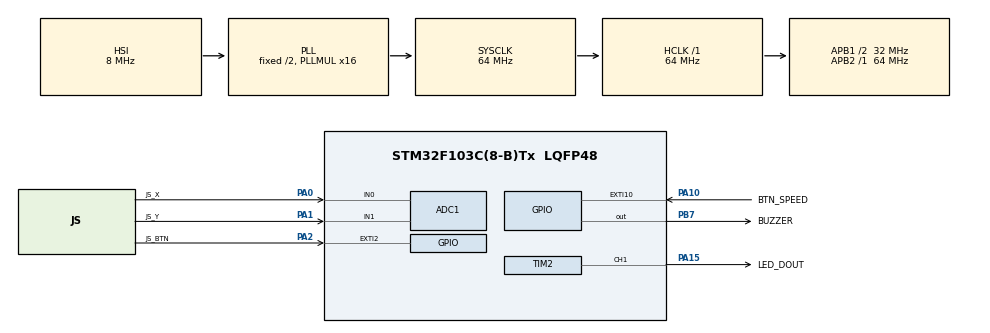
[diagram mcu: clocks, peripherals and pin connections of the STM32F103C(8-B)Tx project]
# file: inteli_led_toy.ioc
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ADC1.Channel-5\#ChannelRegularConversion=ADC_CHANNEL_0
ADC1.Channel-6\#ChannelRegularConversion=ADC_CHANNEL_1
ADC1.ContinuousConvMode=ENABLE
ADC1.DiscontinuousConvMode=DISABLE
ADC1.EnableAnalogWatchDog=false
ADC1.EnableInjectedConversion=DISABLE
ADC1.EnableRegularConversion=ENABLE
ADC1.ExternalTrigInjecConv=ADC_INJECTED_SOFTWARE_START
ADC1.InjNumberOfConversion=2
ADC1.NbrOfConversion=2
ADC1.NbrOfConversionFlag=1
ADC1.Rank-5\#ChannelRegularConversion=1
ADC1.Rank-6\#ChannelRegularConversion=2
ADC1.SamplingTime-5\#ChannelRegularConversion=ADC_SAMPLETIME_239CYCLES_5
ADC1.SamplingTime-6\#ChannelRegularConversion=ADC_SAMPLETIME_239CYCLES_5
ADC1.master=1
Dma.ADC1.1.Direction=DMA_PERIPH_TO_MEMORY
Dma.ADC1.1.Instance=DMA1_Channel1
Dma.ADC1.1.MemDataAlignment=DMA_MDATAALIGN_WORD
Dma.ADC1.1.MemInc=DMA_MINC_ENABLE
Dma.ADC1.1.Mode=DMA_CIRCULAR
Dma.ADC1.1.PeriphDataAlignment=DMA_PDATAALIGN_WORD
Dma.ADC1.1.PeriphInc=DMA_PINC_DISABLE
Dma.ADC1.1.Priority=DMA_PRIORITY_LOW
Dma.Request0=TIM2_CH1
Dma.Request1=ADC1
Dma.TIM2_CH1.0.Direction=DMA_MEMORY_TO_PERIPH
Dma.TIM2_CH1.0.Instance=DMA1_Channel5
Dma.TIM2_CH1.0.MemDataAlignment=DMA_MDATAALIGN_BYTE
Dma.TIM2_CH1.0.MemInc=DMA_MINC_ENABLE
Dma.TIM2_CH1.0.Mode=DMA_CIRCULAR
Dma.TIM2_CH1.0.PeriphDataAlignment=DMA_PDATAALIGN_HALFWORD
Dma.TIM2_CH1.0.PeriphInc=DMA_PINC_DISABLE
Dma.TIM2_CH1.0.Priority=DMA_PRIORITY_LOW
Mcu.Family=STM32F1
Mcu.Name=STM32F103C(8-B)Tx
Mcu.Package=LQFP48
NVIC.ADC1_2_IRQn=true\:0\:0\:false\:false\:true\:true\:true
NVIC.DMA1_Channel1_IRQn=true\:0\:0\:false\:false\:true\:false\:true
NVIC.DMA1_Channel5_IRQn=true\:0\:0\:false\:false\:true\:false\:true
NVIC.EXTI15_10_IRQn=true\:0\:0\:false\:false\:true\:true\:true
NVIC.EXTI2_IRQn=true\:0\:0\:false\:false\:true\:true\:true
NVIC.PriorityGroup=NVIC_PRIORITYGROUP_4
NVIC.TIM2_IRQn=true\:0\:0\:false\:false\:true\:true\:true
NVIC.TIM3_IRQn=true\:0\:0\:false\:false\:true\:true\:true
NVIC.TIM4_IRQn=true\:0\:0\:false\:false\:true\:true\:true
PA0-WKUP.GPIO_Label=JS_X
PA0-WKUP.Signal=ADCx_IN0
PA1.GPIO_Label=JS_Y
PA1.Signal=ADCx_IN1
PA10.GPIO_Label=BTN_SPEED
PA10.GPIO_ModeDefaultEXTI=GPIO_MODE_IT_FALLING
PA10.GPIO_PuPd=GPIO_PULLUP
PA10.Signal=GPXTI10
PA13.Mode=Serial_Wire
PA13.Signal=SYS_JTMS-SWDIO
PA14.Mode=Serial_Wire
PA14.Signal=SYS_JTCK-SWCLK
PA15.GPIO_Label=LED_DOUT
PA15.Signal=S_TIM2_CH1_ETR
PA2.GPIO_Label=JS_BTN
PA2.GPIO_ModeDefaultEXTI=GPIO_MODE_IT_FALLING
PA2.GPIO_PuPd=GPIO_PULLUP
PA2.Signal=GPXTI2
PB7.GPIO_Label=BUZZER
PB7.PinState=GPIO_PIN_RESET
PB7.Signal=GPIO_Output
ProjectManager.HeapSize=0x200
ProjectManager.StackSize=0x400
ProjectManager.TargetToolchain=STM32CubeIDE
RCC.ADCPresc=RCC_ADCPCLK2_DIV6
RCC.AHBFreq_Value=64000000
RCC.APB1CLKDivider=RCC_HCLK_DIV2
RCC.APB1Freq_Value=32000000
RCC.APB1TimFreq_Value=64000000
RCC.APB2Freq_Value=64000000
RCC.APB2TimFreq_Value=64000000
RCC.HCLKFreq_Value=64000000
RCC.PLLMUL=RCC_PLL_MUL16
RCC.SYSCLKFreq_VALUE=64000000
RCC.SYSCLKSource=RCC_SYSCLKSOURCE_PLLCLK
RCC.USBFreq_Value=64000000
RTC.Format=RTC_FORMAT_BCD
SH.ADCx_IN0.0=ADC1_IN0,IN0
SH.ADCx_IN1.0=ADC1_IN1,IN1
SH.S_TIM2_CH1_ETR.0=TIM2_CH1,PWM Generation1 CH1
TIM2.Channel-PWM\ Generation1\ CH1=TIM_CHANNEL_1
TIM2.Period=90-1
TIM2.Prescaler=0
TIM2.Pulse-PWM\ Generation1\ CH1=0
TIM3.Period=7200
TIM3.Prescaler=10000
TIM4.Period=100-1
TIM4.Prescaler=7200
VP_RTC_VS_RTC_Activate.Mode=RTC_Enabled
VP_RTC_VS_RTC_Calendar.Mode=RTC_Calendar
VP_TIM2_VS_ClockSourceINT.Mode=Internal
VP_TIM3_VS_ClockSourceINT.Mode=Internal
VP_TIM4_VS_ClockSourceINT.Mode=Internal
board=custom

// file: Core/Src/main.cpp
/* USER CODE BEGIN Header */
/**
  ******************************************************************************
  * @file           : main.c
  * @brief          : Main program body
  ******************************************************************************
  * @attention
  *
  * <h2><center>&copy; Copyright (c) 2021 STMicroelectronics.
  * All rights reserved.</center></h2>
  *
  * This software component is licensed by ST under BSD 3-Clause license,
  * the "License"; You may not use this file except in compliance with the
  * License. You may obtain a copy of the License at:
  *                        opensource.org/licenses/BSD-3-Clause
  *
  ******************************************************************************
  */
/* USER CODE END Header */
#include "main.h"

/* USER CODE BEGIN Includes */
#include "Led_plane.h"
#include "Game_food.h"
#include "Game_snake.h"
#include "Joystick.h"
extern "C"
{
	#include "buzzer.h"
}
/* USER CODE END Includes */

ADC_HandleTypeDef hadc1;
DMA_HandleTypeDef hdma_adc1;

RTC_HandleTypeDef hrtc;

TIM_HandleTypeDef htim2;
TIM_HandleTypeDef htim3;
TIM_HandleTypeDef htim4;
DMA_HandleTypeDef hdma_tim2_ch1;

/* USER CODE BEGIN PV */
void game_over();
uint32_t RGB(uint8_t r, uint8_t g, uint8_t b);
/* USER CODE END PV */

void SystemClock_Config(void);
static void MX_GPIO_Init(void);
static void MX_DMA_Init(void);
static void MX_TIM2_Init(void);
static void MX_RTC_Init(void);
static void MX_ADC1_Init(void);
static void MX_TIM3_Init(void);
static void MX_TIM4_Init(void);

/* USER CODE BEGIN 0 */
Led_plane ws2812(&htim2, TIM_CHANNEL_1);
Joystick joystick(&htim4);

Game_snake *snake;
Game_food *food;

uint8_t snake_speed = Game_snake::SPEED_RATE::THREE;

void HAL_TIM_PeriodElapsedCallback(TIM_HandleTypeDef *htim)
{
    if (htim->Instance == snake->fps_timer->Instance)
    {
    	switch (snake->get_obj_ahead(food))
    	{
			case FOOD:
				snake->make_step();
				snake->devour(food);
				food = new Game_food(&ws2812);
				break;
			case OBSTACLE:
				game_over();
				break;
			case NONE:
				snake->make_step();
				break;
		}
    }
    if (htim->Instance == joystick.polling_timer->Instance)
    {
    	if (joystick.rot_val[0] < joystick.rot_lim.x_low)
    		snake->turn(Game_snake::UP);
    	if (joystick.rot_val[0] > joystick.rot_lim.x_high)
    		snake->turn(Game_snake::DOWN);
    	if (joystick.rot_val[1] < joystick.rot_lim.y_low)
    		snake->turn(Game_snake::RIGHT);
    	if (joystick.rot_val[1] > joystick.rot_lim.y_high)
    		snake->turn(Game_snake::LEFT);
    }
}

void HAL_GPIO_EXTI_Callback(uint16_t GPIO_Pin)
{
	/*make snake move upon joystick button press*/
	if (GPIO_Pin == JS_BTN_Pin && !snake->is_moving)
	{
		if (snake->is_crush)
		{
			/*Clear field*/
			ws2812.fill_rect(0, 0, ws2812.Cols - 1, ws2812.Rows - 1, 0);
			snake = new Game_snake(&htim3, &ws2812, 3, RGB(8, 0, 0), RGB(0, 8, 0));
			snake->is_crush = false;
			snake->sr = static_cast<Game_snake::SPEED_RATE>(snake_speed);
		}
		food = new Game_food(&ws2812);
		snake->start_move();
	}
	if (GPIO_Pin == BTN_SPEED_Pin)
	{
//		snake_speed = snake->sr;
		if (snake->sr != Game_snake::SPEED_RATE::SIX)
		{
			snake->sr = static_cast<Game_snake::SPEED_RATE>(++snake_speed);
			snake_speed = snake->sr;
		}
		else
		{
			snake->sr = Game_snake::SPEED_RATE::ONE;
			snake_speed = snake->sr;
		}
		snake->set_speed(snake->sr);
	}
}

void game_over()
{
	snake->is_crush = true;
	snake->stop_move();
	snake->change_color(RGB(8, 0, 0));
	delete food;
	delete snake;
}

uint32_t RGB(uint8_t r, uint8_t g, uint8_t b)
{
	return r << 16 | g << 8 | b;
}
/* USER CODE END 0 */

int main(void)
{

  /* MCU Configuration--------------------------------------------------------*/

  /* Reset of all peripherals, Initializes the Flash interface and the Systick. */
  HAL_Init();

  /* Configure the system clock */
  SystemClock_Config();

  /* Initialize all configured peripherals */
  MX_GPIO_Init();
  MX_DMA_Init();
  MX_TIM2_Init();
  MX_RTC_Init();
  MX_ADC1_Init();
  MX_TIM3_Init();
  MX_TIM4_Init();
  /* USER CODE BEGIN 2 */
  buzzer_on();
  HAL_Delay(100);
  buzzer_off();
  HAL_ADCEx_Calibration_Start(&hadc1);
  HAL_ADC_Start_DMA(&hadc1, joystick.rot_val, 2);

  joystick.on();

  ws2812.light_on();

  snake = new Game_snake(&htim3, &ws2812, 3, RGB(8, 0, 0), RGB(0, 8, 0));
  snake->sr = static_cast<Game_snake::SPEED_RATE>(snake_speed);

  /* USER CODE END 2 */

  /* Infinite loop */
  while (1)
  {

  }
}

void SystemClock_Config(void)
{
  RCC_OscInitTypeDef RCC_OscInitStruct = {0};
  RCC_ClkInitTypeDef RCC_ClkInitStruct = {0};
  RCC_PeriphCLKInitTypeDef PeriphClkInit = {0};

  /** Initializes the RCC Oscillators according to the specified parameters
  * in the RCC_OscInitTypeDef structure.
  */
  RCC_OscInitStruct.OscillatorType = RCC_OSCILLATORTYPE_HSI|RCC_OSCILLATORTYPE_LSI;
  RCC_OscInitStruct.HSIState = RCC_HSI_ON;
  RCC_OscInitStruct.HSICalibrationValue = RCC_HSICALIBRATION_DEFAULT;
  RCC_OscInitStruct.LSIState = RCC_LSI_ON;
  RCC_OscInitStruct.PLL.PLLState = RCC_PLL_ON;
  RCC_OscInitStruct.PLL.PLLSource = RCC_PLLSOURCE_HSI_DIV2;
  RCC_OscInitStruct.PLL.PLLMUL = RCC_PLL_MUL16;
  if (HAL_RCC_OscConfig(&RCC_OscInitStruct) != HAL_OK)
  {
    Error_Handler();
  }
  /** Initializes the CPU, AHB and APB buses clocks
  */
  RCC_ClkInitStruct.ClockType = RCC_CLOCKTYPE_HCLK|RCC_CLOCKTYPE_SYSCLK
                              |RCC_CLOCKTYPE_PCLK1|RCC_CLOCKTYPE_PCLK2;
  RCC_ClkInitStruct.SYSCLKSource = RCC_SYSCLKSOURCE_PLLCLK;
  RCC_ClkInitStruct.AHBCLKDivider = RCC_SYSCLK_DIV1;
  RCC_ClkInitStruct.APB1CLKDivider = RCC_HCLK_DIV2;
  RCC_ClkInitStruct.APB2CLKDivider = RCC_HCLK_DIV1;

  if (HAL_RCC_ClockConfig(&RCC_ClkInitStruct, FLASH_LATENCY_2) != HAL_OK)
  {
    Error_Handler();
  }
  PeriphClkInit.PeriphClockSelection = RCC_PERIPHCLK_RTC|RCC_PERIPHCLK_ADC;
  PeriphClkInit.RTCClockSelection = RCC_RTCCLKSOURCE_LSI;
  PeriphClkInit.AdcClockSelection = RCC_ADCPCLK2_DIV6;
  if (HAL_RCCEx_PeriphCLKConfig(&PeriphClkInit) != HAL_OK)
  {
    Error_Handler();
  }
}

static void MX_ADC1_Init(void)
{

  ADC_ChannelConfTypeDef sConfig = {0};

  /** Common config
  */
  hadc1.Instance = ADC1;
  hadc1.Init.ScanConvMode = ADC_SCAN_ENABLE;
  hadc1.Init.ContinuousConvMode = ENABLE;
  hadc1.Init.DiscontinuousConvMode = DISABLE;
  hadc1.Init.ExternalTrigConv = ADC_SOFTWARE_START;
  hadc1.Init.DataAlign = ADC_DATAALIGN_RIGHT;
  hadc1.Init.NbrOfConversion = 2;
  if (HAL_ADC_Init(&hadc1) != HAL_OK)
  {
    Error_Handler();
  }
  /** Configure Regular Channel
  */
  sConfig.Channel = ADC_CHANNEL_0;
  sConfig.Rank = ADC_REGULAR_RANK_1;
  sConfig.SamplingTime = ADC_SAMPLETIME_239CYCLES_5;
  if (HAL_ADC_ConfigChannel(&hadc1, &sConfig) != HAL_OK)
  {
    Error_Handler();
  }
  /** Configure Regular Channel
  */
  sConfig.Channel = ADC_CHANNEL_1;
  sConfig.Rank = ADC_REGULAR_RANK_2;
  if (HAL_ADC_ConfigChannel(&hadc1, &sConfig) != HAL_OK)
  {
    Error_Handler();
  }

}

static void MX_RTC_Init(void)
{

  RTC_TimeTypeDef sTime = {0};
  RTC_DateTypeDef DateToUpdate = {0};

  /** Initialize RTC Only
  */
  hrtc.Instance = RTC;
  hrtc.Init.AsynchPrediv = RTC_AUTO_1_SECOND;
  hrtc.Init.OutPut = RTC_OUTPUTSOURCE_ALARM;
  if (HAL_RTC_Init(&hrtc) != HAL_OK)
  {
    Error_Handler();
  }

  /** Initialize RTC and set the Time and Date
  */
  sTime.Hours = 0x0;
  sTime.Minutes = 0x0;
  sTime.Seconds = 0x0;

  if (HAL_RTC_SetTime(&hrtc, &sTime, RTC_FORMAT_BCD) != HAL_OK)
  {
    Error_Handler();
  }
  DateToUpdate.WeekDay = RTC_WEEKDAY_MONDAY;
  DateToUpdate.Month = RTC_MONTH_JANUARY;
  DateToUpdate.Date = 0x1;
  DateToUpdate.Year = 0x0;

  if (HAL_RTC_SetDate(&hrtc, &DateToUpdate, RTC_FORMAT_BCD) != HAL_OK)
  {
    Error_Handler();
  }

}

static void MX_TIM2_Init(void)
{

  TIM_ClockConfigTypeDef sClockSourceConfig = {0};
  TIM_MasterConfigTypeDef sMasterConfig = {0};
  TIM_OC_InitTypeDef sConfigOC = {0};

  htim2.Instance = TIM2;
  htim2.Init.Prescaler = 0;
  htim2.Init.CounterMode = TIM_COUNTERMODE_UP;
  htim2.Init.Period = 90-1;
  htim2.Init.ClockDivision = TIM_CLOCKDIVISION_DIV1;
  htim2.Init.AutoReloadPreload = TIM_AUTORELOAD_PRELOAD_DISABLE;
  if (HAL_TIM_Base_Init(&htim2) != HAL_OK)
  {
    Error_Handler();
  }
  sClockSourceConfig.ClockSource = TIM_CLOCKSOURCE_INTERNAL;
  if (HAL_TIM_ConfigClockSource(&htim2, &sClockSourceConfig) != HAL_OK)
  {
    Error_Handler();
  }
  if (HAL_TIM_PWM_Init(&htim2) != HAL_OK)
  {
    Error_Handler();
  }
  sMasterConfig.MasterOutputTrigger = TIM_TRGO_RESET;
  sMasterConfig.MasterSlaveMode = TIM_MASTERSLAVEMODE_DISABLE;
  if (HAL_TIMEx_MasterConfigSynchronization(&htim2, &sMasterConfig) != HAL_OK)
  {
    Error_Handler();
  }
  sConfigOC.OCMode = TIM_OCMODE_PWM1;
  sConfigOC.Pulse = 0;
  sConfigOC.OCPolarity = TIM_OCPOLARITY_HIGH;
  sConfigOC.OCFastMode = TIM_OCFAST_DISABLE;
  if (HAL_TIM_PWM_ConfigChannel(&htim2, &sConfigOC, TIM_CHANNEL_1) != HAL_OK)
  {
    Error_Handler();
  }
  HAL_TIM_MspPostInit(&htim2);

}

static void MX_TIM3_Init(void)
{

  TIM_ClockConfigTypeDef sClockSourceConfig = {0};
  TIM_MasterConfigTypeDef sMasterConfig = {0};

  htim3.Instance = TIM3;
  htim3.Init.Prescaler = 10000;
  htim3.Init.CounterMode = TIM_COUNTERMODE_UP;
  htim3.Init.Period = 7200;
  htim3.Init.ClockDivision = TIM_CLOCKDIVISION_DIV1;
  htim3.Init.AutoReloadPreload = TIM_AUTORELOAD_PRELOAD_DISABLE;
  if (HAL_TIM_Base_Init(&htim3) != HAL_OK)
  {
    Error_Handler();
  }
  sClockSourceConfig.ClockSource = TIM_CLOCKSOURCE_INTERNAL;
  if (HAL_TIM_ConfigClockSource(&htim3, &sClockSourceConfig) != HAL_OK)
  {
    Error_Handler();
  }
  sMasterConfig.MasterOutputTrigger = TIM_TRGO_RESET;
  sMasterConfig.MasterSlaveMode = TIM_MASTERSLAVEMODE_DISABLE;
  if (HAL_TIMEx_MasterConfigSynchronization(&htim3, &sMasterConfig) != HAL_OK)
  {
    Error_Handler();
  }

}

static void MX_TIM4_Init(void)
{

  TIM_ClockConfigTypeDef sClockSourceConfig = {0};
  TIM_MasterConfigTypeDef sMasterConfig = {0};

  htim4.Instance = TIM4;
  htim4.Init.Prescaler = 7200;
  htim4.Init.CounterMode = TIM_COUNTERMODE_UP;
  htim4.Init.Period = 100-1;
  htim4.Init.ClockDivision = TIM_CLOCKDIVISION_DIV1;
  htim4.Init.AutoReloadPreload = TIM_AUTORELOAD_PRELOAD_DISABLE;
  if (HAL_TIM_Base_Init(&htim4) != HAL_OK)
  {
    Error_Handler();
  }
  sClockSourceConfig.ClockSource = TIM_CLOCKSOURCE_INTERNAL;
  if (HAL_TIM_ConfigClockSource(&htim4, &sClockSourceConfig) != HAL_OK)
  {
    Error_Handler();
  }
  sMasterConfig.MasterOutputTrigger = TIM_TRGO_RESET;
  sMasterConfig.MasterSlaveMode = TIM_MASTERSLAVEMODE_DISABLE;
  if (HAL_TIMEx_MasterConfigSynchronization(&htim4, &sMasterConfig) != HAL_OK)
  {
    Error_Handler();
  }

}

static void MX_DMA_Init(void)
{

  /* DMA controller clock enable */
  __HAL_RCC_DMA1_CLK_ENABLE();

  /* DMA interrupt init */
  /* DMA1_Channel1_IRQn interrupt configuration */
  HAL_NVIC_SetPriority(DMA1_Channel1_IRQn, 0, 0);
  HAL_NVIC_EnableIRQ(DMA1_Channel1_IRQn);
  /* DMA1_Channel5_IRQn interrupt configuration */
  HAL_NVIC_SetPriority(DMA1_Channel5_IRQn, 0, 0);
  HAL_NVIC_EnableIRQ(DMA1_Channel5_IRQn);

}

static void MX_GPIO_Init(void)
{
  GPIO_InitTypeDef GPIO_InitStruct = {0};

  /* GPIO Ports Clock Enable */
  __HAL_RCC_GPIOA_CLK_ENABLE();
  __HAL_RCC_GPIOB_CLK_ENABLE();

  /*Configure GPIO pin Output Level */
  HAL_GPIO_WritePin(BUZZER_GPIO_Port, BUZZER_Pin, GPIO_PIN_RESET);

  /*Configure GPIO pins : JS_BTN_Pin BTN_SPEED_Pin */
  GPIO_InitStruct.Pin = JS_BTN_Pin|BTN_SPEED_Pin;
  GPIO_InitStruct.Mode = GPIO_MODE_IT_FALLING;
  GPIO_InitStruct.Pull = GPIO_PULLUP;
  HAL_GPIO_Init(GPIOA, &GPIO_InitStruct);

  /*Configure GPIO pin : BUZZER_Pin */
  GPIO_InitStruct.Pin = BUZZER_Pin;
  GPIO_InitStruct.Mode = GPIO_MODE_OUTPUT_PP;
  GPIO_InitStruct.Pull = GPIO_NOPULL;
  GPIO_InitStruct.Speed = GPIO_SPEED_FREQ_LOW;
  HAL_GPIO_Init(BUZZER_GPIO_Port, &GPIO_InitStruct);

  /* EXTI interrupt init*/
  HAL_NVIC_SetPriority(EXTI2_IRQn, 0, 0);
  HAL_NVIC_EnableIRQ(EXTI2_IRQn);

  HAL_NVIC_SetPriority(EXTI15_10_IRQn, 0, 0);
  HAL_NVIC_EnableIRQ(EXTI15_10_IRQn);

}

void Error_Handler(void)
{
  __disable_irq();
  while (1)
  {
  }
}

/************************ (C) COPYRIGHT STMicroelectronics *****END OF FILE****/
